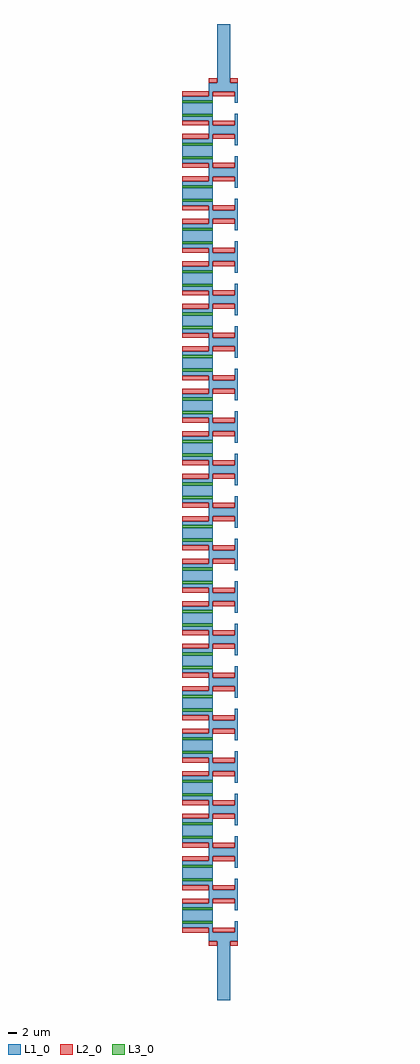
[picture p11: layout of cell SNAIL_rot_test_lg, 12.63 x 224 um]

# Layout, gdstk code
import gdstk
lib = gdstk.Library(unit=1e-6, precision=1e-09)
def R(c, l, rs):  # rectangles x0, y0, x1, y1
    for r in rs: c.add(gdstk.rectangle(r[:2], r[2:], *l))
def A(c, l, x, y, w, h, nx, ny, dx, dy):  # array of equal rectangles
    R(c, l, [(x+i*dx, y+j*dy, x+i*dx+w, y+j*dy+h) for i in range(nx) for j in range(ny)])
def P(c, l, *ps):  # polygons
    for p in ps: c.add(gdstk.Polygon(p, *l))
L1_0 = (1, 0)
L2_0 = (2, 0)
L3_0 = (3, 0)

snail_rot_test_lg = lib.new_cell('SNAIL_rot_test_lg')
A(snail_rot_test_lg, L1_0, -9.5, -93.925, 7, 2.6, 1, 20, 0, 9.75)
R(snail_rot_test_lg, L1_0, [(-1.5,-112,1.5,-98.5), (-1.5,98.5,1.5,112)])
P(snail_rot_test_lg, L1_0, [(3.13,-98.5),(-3.5,-98.5),(-3.5,-95.425),(-9.5,-95.425),(-9.5,-94.425),(-2.5,-94.425),(-2.5,-96.5),(2.5,-96.5),(2.5,-93.875),(3.13,-93.875),(3.13,-94.875),(3.13,-94.875)],
  [(3.13,-87.75),(-3.5,-87.75),(-3.5,-89.825),(-9.5,-89.825),(-9.5,-90.825),(-2.5,-90.825),(-2.5,-88.75),(2.5,-88.75),(2.5,-91.375),(3.13,-91.375),(3.13,-90.375),(3.13,-90.375)],
  [(3.13,-87.75),(-3.5,-87.75),(-3.5,-85.675),(-9.5,-85.675),(-9.5,-84.675),(-2.5,-84.675),(-2.5,-86.75),(2.5,-86.75),(2.5,-84.125),(3.13,-84.125),(3.13,-85.125),(3.13,-85.125)],
  [(3.13,-78),(-3.5,-78),(-3.5,-80.075),(-9.5,-80.075),(-9.5,-81.075),(-2.5,-81.075),(-2.5,-79),(2.5,-79),(2.5,-81.625),(3.13,-81.625),(3.13,-80.625),(3.13,-80.625)],
  [(3.13,-78),(-3.5,-78),(-3.5,-75.925),(-9.5,-75.925),(-9.5,-74.925),(-2.5,-74.925),(-2.5,-77),(2.5,-77),(2.5,-74.375),(3.13,-74.375),(3.13,-75.375),(3.13,-75.375)],
  [(3.13,-68.25),(-3.5,-68.25),(-3.5,-70.325),(-9.5,-70.325),(-9.5,-71.325),(-2.5,-71.325),(-2.5,-69.25),(2.5,-69.25),(2.5,-71.875),(3.13,-71.875),(3.13,-70.875),(3.13,-70.875)],
  [(3.13,-68.25),(-3.5,-68.25),(-3.5,-66.175),(-9.5,-66.175),(-9.5,-65.175),(-2.5,-65.175),(-2.5,-67.25),(2.5,-67.25),(2.5,-64.625),(3.13,-64.625),(3.13,-65.625),(3.13,-65.625)],
  [(3.13,-58.5),(-3.5,-58.5),(-3.5,-60.575),(-9.5,-60.575),(-9.5,-61.575),(-2.5,-61.575),(-2.5,-59.5),(2.5,-59.5),(2.5,-62.125),(3.13,-62.125),(3.13,-61.125),(3.13,-61.125)],
  [(3.13,-58.5),(-3.5,-58.5),(-3.5,-56.425),(-9.5,-56.425),(-9.5,-55.425),(-2.5,-55.425),(-2.5,-57.5),(2.5,-57.5),(2.5,-54.875),(3.13,-54.875),(3.13,-55.875),(3.13,-55.875)],
  [(3.13,-48.75),(-3.5,-48.75),(-3.5,-50.825),(-9.5,-50.825),(-9.5,-51.825),(-2.5,-51.825),(-2.5,-49.75),(2.5,-49.75),(2.5,-52.375),(3.13,-52.375),(3.13,-51.375),(3.13,-51.375)],
  [(3.13,-48.75),(-3.5,-48.75),(-3.5,-46.675),(-9.5,-46.675),(-9.5,-45.675),(-2.5,-45.675),(-2.5,-47.75),(2.5,-47.75),(2.5,-45.125),(3.13,-45.125),(3.13,-46.125),(3.13,-46.125)],
  [(3.13,-39),(-3.5,-39),(-3.5,-41.075),(-9.5,-41.075),(-9.5,-42.075),(-2.5,-42.075),(-2.5,-40),(2.5,-40),(2.5,-42.625),(3.13,-42.625),(3.13,-41.625),(3.13,-41.625)],
  [(3.13,-39),(-3.5,-39),(-3.5,-36.925),(-9.5,-36.925),(-9.5,-35.925),(-2.5,-35.925),(-2.5,-38),(2.5,-38),(2.5,-35.375),(3.13,-35.375),(3.13,-36.375),(3.13,-36.375)],
  [(3.13,-29.25),(-3.5,-29.25),(-3.5,-31.325),(-9.5,-31.325),(-9.5,-32.325),(-2.5,-32.325),(-2.5,-30.25),(2.5,-30.25),(2.5,-32.875),(3.13,-32.875),(3.13,-31.875),(3.13,-31.875)],
  [(3.13,-29.25),(-3.5,-29.25),(-3.5,-27.175),(-9.5,-27.175),(-9.5,-26.175),(-2.5,-26.175),(-2.5,-28.25),(2.5,-28.25),(2.5,-25.625),(3.13,-25.625),(3.13,-26.625),(3.13,-26.625)],
  [(3.13,-19.5),(-3.5,-19.5),(-3.5,-21.575),(-9.5,-21.575),(-9.5,-22.575),(-2.5,-22.575),(-2.5,-20.5),(2.5,-20.5),(2.5,-23.125),(3.13,-23.125),(3.13,-22.125),(3.13,-22.125)],
  [(3.13,-19.5),(-3.5,-19.5),(-3.5,-17.425),(-9.5,-17.425),(-9.5,-16.425),(-2.5,-16.425),(-2.5,-18.5),(2.5,-18.5),(2.5,-15.875),(3.13,-15.875),(3.13,-16.875),(3.13,-16.875)],
  [(3.13,-9.75),(-3.5,-9.75),(-3.5,-11.825),(-9.5,-11.825),(-9.5,-12.825),(-2.5,-12.825),(-2.5,-10.75),(2.5,-10.75),(2.5,-13.375),(3.13,-13.375),(3.13,-12.375),(3.13,-12.375)],
  [(3.13,-9.75),(-3.5,-9.75),(-3.5,-7.675),(-9.5,-7.675),(-9.5,-6.675),(-2.5,-6.675),(-2.5,-8.75),(2.5,-8.75),(2.5,-6.125),(3.13,-6.125),(3.13,-7.125),(3.13,-7.125)],
  [(3.13,0),(-3.5,0),(-3.5,-2.075),(-9.5,-2.075),(-9.5,-3.075),(-2.5,-3.075),(-2.5,-1),(2.5,-1),(2.5,-3.625),(3.13,-3.625),(3.13,-2.625),(3.13,-2.625)],
  [(3.13,0),(-3.5,0),(-3.5,2.075),(-9.5,2.075),(-9.5,3.075),(-2.5,3.075),(-2.5,1),(2.5,1),(2.5,3.625),(3.13,3.625),(3.13,2.625),(3.13,2.625)],
  [(3.13,9.75),(-3.5,9.75),(-3.5,7.675),(-9.5,7.675),(-9.5,6.675),(-2.5,6.675),(-2.5,8.75),(2.5,8.75),(2.5,6.125),(3.13,6.125),(3.13,7.125),(3.13,7.125)],
  [(3.13,9.75),(-3.5,9.75),(-3.5,11.825),(-9.5,11.825),(-9.5,12.825),(-2.5,12.825),(-2.5,10.75),(2.5,10.75),(2.5,13.375),(3.13,13.375),(3.13,12.375),(3.13,12.375)],
  [(3.13,19.5),(-3.5,19.5),(-3.5,17.425),(-9.5,17.425),(-9.5,16.425),(-2.5,16.425),(-2.5,18.5),(2.5,18.5),(2.5,15.875),(3.13,15.875),(3.13,16.875),(3.13,16.875)],
  [(3.13,19.5),(-3.5,19.5),(-3.5,21.575),(-9.5,21.575),(-9.5,22.575),(-2.5,22.575),(-2.5,20.5),(2.5,20.5),(2.5,23.125),(3.13,23.125),(3.13,22.125),(3.13,22.125)],
  [(3.13,29.25),(-3.5,29.25),(-3.5,27.175),(-9.5,27.175),(-9.5,26.175),(-2.5,26.175),(-2.5,28.25),(2.5,28.25),(2.5,25.625),(3.13,25.625),(3.13,26.625),(3.13,26.625)],
  [(3.13,29.25),(-3.5,29.25),(-3.5,31.325),(-9.5,31.325),(-9.5,32.325),(-2.5,32.325),(-2.5,30.25),(2.5,30.25),(2.5,32.875),(3.13,32.875),(3.13,31.875),(3.13,31.875)],
  [(3.13,39),(-3.5,39),(-3.5,36.925),(-9.5,36.925),(-9.5,35.925),(-2.5,35.925),(-2.5,38),(2.5,38),(2.5,35.375),(3.13,35.375),(3.13,36.375),(3.13,36.375)],
  [(3.13,39),(-3.5,39),(-3.5,41.075),(-9.5,41.075),(-9.5,42.075),(-2.5,42.075),(-2.5,40),(2.5,40),(2.5,42.625),(3.13,42.625),(3.13,41.625),(3.13,41.625)],
  [(3.13,48.75),(-3.5,48.75),(-3.5,46.675),(-9.5,46.675),(-9.5,45.675),(-2.5,45.675),(-2.5,47.75),(2.5,47.75),(2.5,45.125),(3.13,45.125),(3.13,46.125),(3.13,46.125)],
  [(3.13,48.75),(-3.5,48.75),(-3.5,50.825),(-9.5,50.825),(-9.5,51.825),(-2.5,51.825),(-2.5,49.75),(2.5,49.75),(2.5,52.375),(3.13,52.375),(3.13,51.375),(3.13,51.375)],
  [(3.13,58.5),(-3.5,58.5),(-3.5,56.425),(-9.5,56.425),(-9.5,55.425),(-2.5,55.425),(-2.5,57.5),(2.5,57.5),(2.5,54.875),(3.13,54.875),(3.13,55.875),(3.13,55.875)],
  [(3.13,58.5),(-3.5,58.5),(-3.5,60.575),(-9.5,60.575),(-9.5,61.575),(-2.5,61.575),(-2.5,59.5),(2.5,59.5),(2.5,62.125),(3.13,62.125),(3.13,61.125),(3.13,61.125)],
  [(3.13,68.25),(-3.5,68.25),(-3.5,66.175),(-9.5,66.175),(-9.5,65.175),(-2.5,65.175),(-2.5,67.25),(2.5,67.25),(2.5,64.625),(3.13,64.625),(3.13,65.625),(3.13,65.625)],
  [(3.13,68.25),(-3.5,68.25),(-3.5,70.325),(-9.5,70.325),(-9.5,71.325),(-2.5,71.325),(-2.5,69.25),(2.5,69.25),(2.5,71.875),(3.13,71.875),(3.13,70.875),(3.13,70.875)],
  [(3.13,78),(-3.5,78),(-3.5,75.925),(-9.5,75.925),(-9.5,74.925),(-2.5,74.925),(-2.5,77),(2.5,77),(2.5,74.375),(3.13,74.375),(3.13,75.375),(3.13,75.375)],
  [(3.13,78),(-3.5,78),(-3.5,80.075),(-9.5,80.075),(-9.5,81.075),(-2.5,81.075),(-2.5,79),(2.5,79),(2.5,81.625),(3.13,81.625),(3.13,80.625),(3.13,80.625)],
  [(3.13,87.75),(-3.5,87.75),(-3.5,85.675),(-9.5,85.675),(-9.5,84.675),(-2.5,84.675),(-2.5,86.75),(2.5,86.75),(2.5,84.125),(3.13,84.125),(3.13,85.125),(3.13,85.125)],
  [(3.13,87.75),(-3.5,87.75),(-3.5,89.825),(-9.5,89.825),(-9.5,90.825),(-2.5,90.825),(-2.5,88.75),(2.5,88.75),(2.5,91.375),(3.13,91.375),(3.13,90.375),(3.13,90.375)],
  [(3.13,98.5),(-3.5,98.5),(-3.5,95.425),(-9.5,95.425),(-9.5,94.425),(-2.5,94.425),(-2.5,96.5),(2.5,96.5),(2.5,93.875),(3.13,93.875),(3.13,94.875),(3.13,94.875)])
R(snail_rot_test_lg, L2_0, [(-3.5,-99.6,-1.5,-98.5), (1.5,-99.6,3.13,-98.5), (-9.5,-96.525,-3.5,-95.425), (-2.5,-96.5,2.5,-95.4), (-2.5,-89.85,2.5,-88.75), (-9.5,-89.825,-3.5,-88.725), (-9.5,-86.775,-3.5,-85.675), (-2.5,-86.75,2.5,-85.65), (-2.5,-80.1,2.5,-79), (-9.5,-80.075,-3.5,-78.975), (-9.5,-77.025,-3.5,-75.925), (-2.5,-77,2.5,-75.9), (-2.5,-70.35,2.5,-69.25), (-9.5,-70.325,-3.5,-69.225), (-9.5,-67.275,-3.5,-66.175), (-2.5,-67.25,2.5,-66.15), (-2.5,-60.6,2.5,-59.5), (-9.5,-60.575,-3.5,-59.475), (-9.5,-57.525,-3.5,-56.425), (-2.5,-57.5,2.5,-56.4), (-2.5,-50.85,2.5,-49.75), (-9.5,-50.825,-3.5,-49.725), (-9.5,-47.775,-3.5,-46.675), (-2.5,-47.75,2.5,-46.65), (-2.5,-41.1,2.5,-40), (-9.5,-41.075,-3.5,-39.975), (-9.5,-38.025,-3.5,-36.925), (-2.5,-38,2.5,-36.9), (-2.5,-31.35,2.5,-30.25), (-9.5,-31.325,-3.5,-30.225), (-9.5,-28.275,-3.5,-27.175), (-2.5,-28.25,2.5,-27.15), (-2.5,-21.6,2.5,-20.5), (-9.5,-21.575,-3.5,-20.475), (-9.5,-18.525,-3.5,-17.425), (-2.5,-18.5,2.5,-17.4), (-2.5,-11.85,2.5,-10.75), (-9.5,-11.825,-3.5,-10.725), (-9.5,-8.775,-3.5,-7.675), (-2.5,-8.75,2.5,-7.65), (-2.5,-2.1,2.5,-1), (-9.5,-2.075,-3.5,-0.975), (-9.5,0.975,-3.5,2.075), (-2.5,1,2.5,2.1), (-2.5,7.65,2.5,8.75), (-9.5,7.675,-3.5,8.775), (-9.5,10.725,-3.5,11.825), (-2.5,10.75,2.5,11.85), (-2.5,17.4,2.5,18.5), (-9.5,17.425,-3.5,18.525), (-9.5,20.475,-3.5,21.575), (-2.5,20.5,2.5,21.6), (-2.5,27.15,2.5,28.25), (-9.5,27.175,-3.5,28.275), (-9.5,30.225,-3.5,31.325), (-2.5,30.25,2.5,31.35), (-2.5,36.9,2.5,38), (-9.5,36.925,-3.5,38.025), (-9.5,39.975,-3.5,41.075), (-2.5,40,2.5,41.1), (-2.5,46.65,2.5,47.75), (-9.5,46.675,-3.5,47.775), (-9.5,49.725,-3.5,50.825), (-2.5,49.75,2.5,50.85), (-2.5,56.4,2.5,57.5), (-9.5,56.425,-3.5,57.525), (-9.5,59.475,-3.5,60.575), (-2.5,59.5,2.5,60.6), (-2.5,66.15,2.5,67.25), (-9.5,66.175,-3.5,67.275), (-9.5,69.225,-3.5,70.325), (-2.5,69.25,2.5,70.35), (-2.5,75.9,2.5,77), (-9.5,75.925,-3.5,77.025), (-9.5,78.975,-3.5,80.075), (-2.5,79,2.5,80.1), (-2.5,85.65,2.5,86.75), (-9.5,85.675,-3.5,86.775), (-9.5,88.725,-3.5,89.825), (-2.5,88.75,2.5,89.85), (-2.5,95.4,2.5,96.5), (-9.5,95.425,-3.5,96.525), (-3.5,98.5,-1.5,99.6), (1.5,98.5,3.13,99.6)])
R(snail_rot_test_lg, L3_0, [(-9.5,-94.425,-2.5,-93.925), (-9.5,-91.325,-2.5,-90.825), (-9.5,-84.675,-2.5,-84.175), (-9.5,-81.575,-2.5,-81.075), (-9.5,-74.925,-2.5,-74.425), (-9.5,-71.825,-2.5,-71.325), (-9.5,-65.175,-2.5,-64.675), (-9.5,-62.075,-2.5,-61.575), (-9.5,-55.425,-2.5,-54.925), (-9.5,-52.325,-2.5,-51.825), (-9.5,-45.675,-2.5,-45.175), (-9.5,-42.575,-2.5,-42.075), (-9.5,-35.925,-2.5,-35.425), (-9.5,-32.825,-2.5,-32.325), (-9.5,-26.175,-2.5,-25.675), (-9.5,-23.075,-2.5,-22.575), (-9.5,-16.425,-2.5,-15.925), (-9.5,-13.325,-2.5,-12.825), (-9.5,-6.675,-2.5,-6.175), (-9.5,-3.575,-2.5,-3.075), (-9.5,3.075,-2.5,3.575), (-9.5,6.175,-2.5,6.675), (-9.5,12.825,-2.5,13.325), (-9.5,15.925,-2.5,16.425), (-9.5,22.575,-2.5,23.075), (-9.5,25.675,-2.5,26.175), (-9.5,32.325,-2.5,32.825), (-9.5,35.425,-2.5,35.925), (-9.5,42.075,-2.5,42.575), (-9.5,45.175,-2.5,45.675), (-9.5,51.825,-2.5,52.325), (-9.5,54.925,-2.5,55.425), (-9.5,61.575,-2.5,62.075), (-9.5,64.675,-2.5,65.175), (-9.5,71.325,-2.5,71.825), (-9.5,74.425,-2.5,74.925), (-9.5,81.075,-2.5,81.575), (-9.5,84.175,-2.5,84.675), (-9.5,90.825,-2.5,91.325), (-9.5,93.925,-2.5,94.425)])

lib.write_gds('SNAIL_rot_test_lg.gds')
